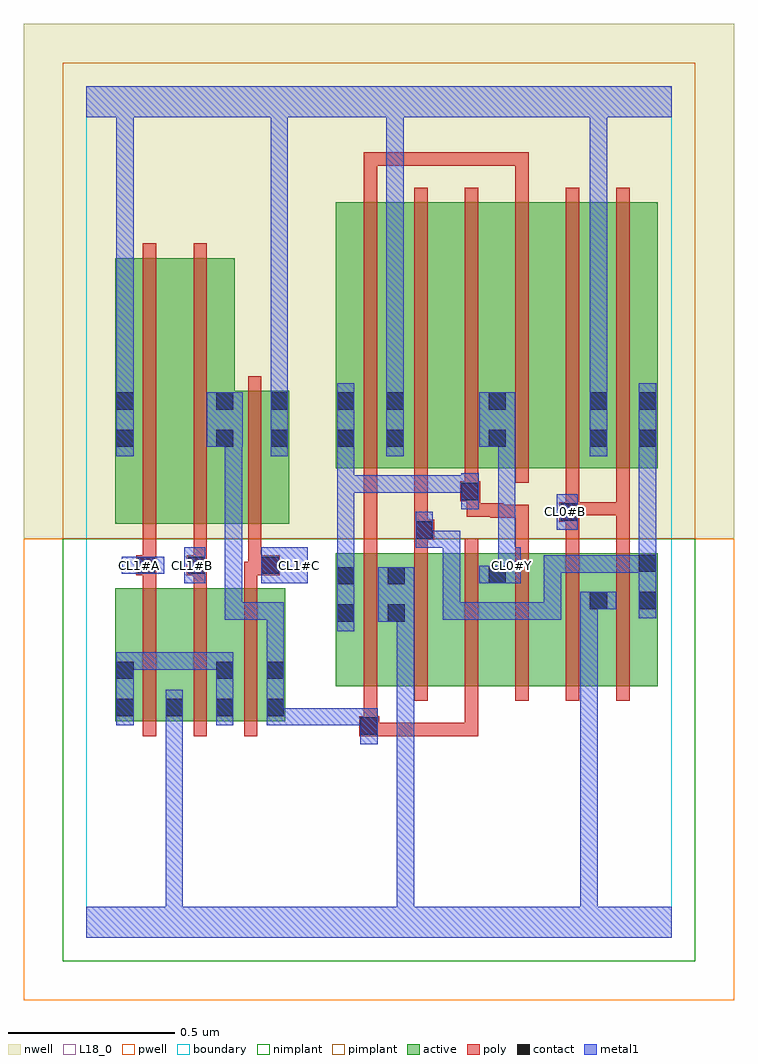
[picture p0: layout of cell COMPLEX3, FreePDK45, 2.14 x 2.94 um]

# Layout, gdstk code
import gdstk
lib = gdstk.Library(unit=1e-6, precision=1e-09)
def R(c, l, rs):  # rectangles x0, y0, x1, y1
    for r in rs: c.add(gdstk.rectangle(r[:2], r[2:], *l))
def A(c, l, x, y, w, h, nx, ny, dx, dy):  # array of equal rectangles
    R(c, l, [(x+i*dx, y+j*dy, x+i*dx+w, y+j*dy+h) for i in range(nx) for j in range(ny)])
active = (1, 0)
pwell = (2, 0)
nwell = (3, 0)
nimplant = (4, 0)
pimplant = (5, 0)
poly = (9, 0)
contact = (10, 0)
metal1 = (11, 0)
L18_0 = (18, 0)
boundary = (235, 0)

complex3 = lib.new_cell('COMPLEX3')
A(complex3, active, 0.234, 0.65, 0.06, 0.4, 3, 1, 0.152, 0)
R(complex3, active, [(0.086,0.65,0.146,1.05), (0.086,0.65,0.294,1.05), (0.234,0.65,0.446,1.05), (0.386,0.65,0.598,1.05), (0.75,0.756,0.81,1.156), (0.75,0.756,0.962,1.156), (0.902,0.756,0.962,1.156), (0.902,0.756,1.082,1.156), (1.082,0.756,1.266,1.156), (1.206,0.756,1.266,1.156), (1.206,0.756,1.386,1.156), (1.386,0.756,1.57,1.156), (1.51,0.756,1.718,1.156), (1.51,0.756,1.57,1.044), (1.658,0.756,1.718,1.156), (0.086,1.244,0.266,2.044), (0.086,1.244,0.146,2.044), (0.266,1.244,0.446,2.044), (0.386,1.244,0.446,1.644), (0.386,1.244,0.61,1.644), (0.55,1.244,0.61,1.644), (0.75,1.412,0.81,2.044), (0.75,1.412,0.958,2.212), (0.898,1.412,0.958,2.044), (0.898,1.412,1.082,2.212), (1.082,1.412,1.266,2.212), (1.206,1.412,1.266,2.044), (1.206,1.412,1.386,2.212), (1.386,1.412,1.57,2.212), (1.51,1.412,1.57,2.044), (1.51,1.412,1.718,2.212), (1.658,1.412,1.718,2.044)])
R(complex3, pwell, [(-0.188,-0.188,1.948,1.2)])
R(complex3, nwell, [(-0.188,1.2,1.948,2.748)])
R(complex3, nimplant, [(-0.072,-0.072,1.832,1.2)])
R(complex3, pimplant, [(-0.072,1.2,1.832,2.632)])
A(complex3, poly, 0.17, 0.606, 0.04, 0.488, 3, 1, 0.152, 0)
A(complex3, poly, 0.834, 0.712, 0.04, 0.488, 6, 1, 0.152, 0)
A(complex3, poly, 0.17, 1.054, 0.04, 0.076, 3, 1, 0.152, 0)
A(complex3, poly, 0.834, 1.368, 0.04, 0.888, 6, 1, 0.152, 0)
R(complex3, poly, [(0.82,0.606,0.88,0.666), (0.84,0.606,0.88,0.646), (0.84,0.606,0.88,0.646), (0.84,0.606,0.986,0.646), (0.946,0.606,0.986,0.646), (0.946,0.606,0.986,0.646), (0.946,0.606,0.986,0.646), (0.946,0.606,1.178,0.646), (1.138,0.606,1.178,0.646), (1.138,0.606,1.178,0.752), (0.834,0.626,0.874,0.752), (0.15,1.09,0.21,1.15), (0.17,1.09,0.21,1.13), (0.17,1.09,0.21,1.13), (0.302,1.09,0.362,1.15), (0.322,1.09,0.362,1.13), (0.322,1.09,0.362,1.13), (0.474,1.09,0.526,1.13), (0.486,1.09,0.526,1.13), (0.486,1.09,0.582,1.15), (0.17,1.11,0.21,1.24), (0.322,1.11,0.362,1.24), (0.486,1.11,0.526,1.24), (0.834,1.16,0.874,1.372), (0.986,1.16,1.026,1.236), (1.29,1.16,1.33,1.302), (1.442,1.16,1.482,1.29), (1.594,1.16,1.634,1.31), (0.986,1.196,1.046,1.256), (0.17,1.2,0.21,2.088), (0.322,1.2,0.362,2.088), (0.486,1.2,0.526,1.688), (0.986,1.216,1.026,1.256), (0.986,1.216,1.026,1.256), (0.986,1.216,1.026,1.408), (1.422,1.25,1.482,1.31), (1.214,1.262,1.33,1.302), (1.214,1.262,1.254,1.306), (1.29,1.262,1.33,1.302), (1.144,1.266,1.184,1.306), (1.144,1.266,1.254,1.306), (1.144,1.266,1.184,1.352), (1.442,1.27,1.482,1.408), (1.442,1.27,1.482,1.31), (1.442,1.27,1.482,1.31), (1.442,1.27,1.482,1.31), (1.442,1.27,1.482,1.31), (1.442,1.27,1.634,1.31), (1.594,1.27,1.634,1.408), (1.594,1.27,1.634,1.31), (1.594,1.27,1.634,1.31), (1.594,1.27,1.634,1.31), (1.124,1.312,1.184,1.372), (0.834,1.332,0.874,1.372), (0.834,1.332,0.874,1.372), (0.834,1.332,0.874,1.372), (0.834,1.332,0.874,1.408), (1.138,1.332,1.178,1.408), (0.834,2.216,0.874,2.362), (1.29,2.216,1.33,2.362), (0.834,2.322,0.874,2.362), (0.834,2.322,0.874,2.362), (0.834,2.322,0.874,2.362), (0.834,2.322,0.986,2.362), (0.946,2.322,0.986,2.362), (0.946,2.322,0.986,2.362), (0.946,2.322,0.986,2.362), (0.946,2.322,1.092,2.362), (1.052,2.322,1.092,2.362), (1.052,2.322,1.33,2.362), (1.29,2.322,1.33,2.362), (1.29,2.322,1.33,2.362), (1.29,2.322,1.33,2.362)])
A(complex3, contact, 0.238, 0.666, 0.052, 0.052, 3, 1, 0.152, 0)
R(complex3, contact, [(0.824,0.61,0.876,0.662), (0.09,0.666,0.142,0.718), (0.09,0.778,0.142,0.83), (0.39,0.778,0.442,0.83), (0.542,0.778,0.594,0.83), (0.754,0.95,0.806,1.002), (0.906,0.95,0.958,1.002), (1.514,0.988,1.566,1.04), (1.662,0.988,1.714,1.04), (0.754,1.062,0.806,1.114), (0.906,1.062,0.958,1.114), (1.21,1.066,1.262,1.118), (0.154,1.094,0.206,1.146), (0.306,1.094,0.358,1.146), (0.526,1.094,0.578,1.146), (1.662,1.1,1.714,1.152), (0.99,1.2,1.042,1.252), (1.426,1.254,1.478,1.306), (1.128,1.316,1.18,1.368), (0.09,1.476,0.142,1.528), (0.39,1.476,0.442,1.528), (0.554,1.476,0.606,1.528), (0.754,1.476,0.806,1.528), (0.902,1.476,0.954,1.528), (1.21,1.476,1.262,1.528), (1.514,1.476,1.566,1.528), (1.662,1.476,1.714,1.528), (0.09,1.588,0.142,1.64), (0.39,1.588,0.442,1.64), (0.554,1.588,0.606,1.64), (0.754,1.588,0.806,1.64), (0.902,1.588,0.954,1.64), (1.21,1.588,1.262,1.64), (1.514,1.588,1.566,1.64), (1.662,1.588,1.714,1.64)])
R(complex3, metal1, [(0,0,1.76,0.092), (0.238,0.04,0.29,0.092), (0.238,0.04,0.29,0.092), (0.238,0.04,0.29,0.092), (0.238,0.04,0.29,0.092), (0.238,0.04,0.29,0.092), (0.238,0.04,0.29,0.092), (0.238,0.04,0.29,0.092), (0.238,0.04,0.29,0.092), (0.238,0.04,0.29,0.092), (0.238,0.04,0.29,0.092), (0.238,0.04,0.29,0.092), (0.238,0.04,0.29,0.092), (0.238,0.04,0.29,0.69), (0.934,0.04,0.986,0.092), (0.934,0.04,0.986,0.092), (0.934,0.04,0.986,0.092), (0.934,0.04,0.986,0.092), (0.934,0.04,0.986,0.092), (0.934,0.04,0.986,0.092), (0.934,0.04,0.986,0.092), (0.934,0.04,0.986,0.092), (0.934,0.04,0.986,0.092), (0.934,0.04,0.986,0.092), (0.934,0.04,0.986,1.002), (1.486,0.04,1.538,0.092), (1.486,0.04,1.538,0.092), (1.486,0.04,1.538,0.092), (1.486,0.04,1.538,0.092), (1.486,0.04,1.538,0.092), (1.486,0.04,1.538,0.092), (1.486,0.04,1.538,0.092), (1.486,0.04,1.538,0.092), (1.486,0.04,1.538,0.092), (1.486,0.04,1.538,0.092), (1.486,0.04,1.538,1.04), (0.824,0.582,0.876,0.69), (0.09,0.638,0.142,0.858), (0.238,0.638,0.29,0.746), (0.39,0.638,0.442,0.858), (0.542,0.638,0.594,0.69), (0.542,0.638,0.594,0.69), (0.542,0.638,0.594,0.69), (0.542,0.638,0.594,0.69), (0.542,0.638,0.594,0.69), (0.542,0.638,0.594,0.69), (0.542,0.638,0.594,0.69), (0.542,0.638,0.594,0.69), (0.542,0.638,0.594,0.69), (0.542,0.638,0.594,0.69), (0.542,0.638,0.594,0.858), (0.542,0.638,0.876,0.69), (0.09,0.806,0.142,0.858), (0.09,0.806,0.142,0.858), (0.09,0.806,0.252,0.858), (0.2,0.806,0.252,0.858), (0.2,0.806,0.252,0.858), (0.2,0.806,0.252,0.858), (0.2,0.806,0.442,0.858), (0.542,0.806,0.594,1.008), (0.754,0.922,0.806,1.142), (0.878,0.95,0.986,1.114), (0.934,0.95,0.986,1.002), (0.934,0.95,0.986,1.002), (0.416,0.956,0.468,1.008), (0.416,0.956,0.468,1.008), (0.416,0.956,0.468,1.008), (0.416,0.956,0.468,1.008), (0.416,0.956,0.468,1.008), (0.416,0.956,0.594,1.008), (0.416,0.956,0.468,1.528), (0.542,0.956,0.594,1.008), (1.072,0.956,1.124,1.008), (1.072,0.956,1.124,1.008), (1.072,0.956,1.124,1.008), (1.072,0.956,1.18,1.008), (1.072,0.956,1.124,1.224), (1.128,0.956,1.18,1.008), (1.128,0.956,1.318,1.008), (1.266,0.956,1.318,1.008), (1.266,0.956,1.318,1.008), (1.266,0.956,1.318,1.008), (1.266,0.956,1.428,1.008), (1.376,0.956,1.428,1.008), (1.376,0.956,1.428,1.15), (1.662,0.96,1.714,1.18), (1.486,0.988,1.538,1.04), (1.486,0.988,1.538,1.04), (1.486,0.988,1.594,1.04), (0.294,1.066,0.358,1.174), (0.526,1.066,0.666,1.174), (1.182,1.066,1.29,1.118), (1.238,1.066,1.29,1.118), (1.238,1.066,1.306,1.174), (0.754,1.09,0.806,1.39), (0.106,1.094,0.234,1.146), (1.376,1.098,1.428,1.15), (1.376,1.098,1.428,1.15), (1.376,1.098,1.428,1.15), (1.376,1.098,1.604,1.15), (1.552,1.098,1.604,1.15), (1.552,1.098,1.714,1.15), (1.662,1.098,1.714,1.15), (1.662,1.098,1.714,1.15), (1.238,1.122,1.29,1.528), (1.662,1.128,1.714,1.5), (0.99,1.172,1.042,1.28), (0.99,1.172,1.124,1.224), (1.072,1.172,1.124,1.224), (1.414,1.226,1.478,1.334), (1.128,1.288,1.18,1.396), (0.754,1.338,0.806,1.39), (0.754,1.338,0.806,1.39), (0.754,1.338,0.806,1.39), (0.754,1.338,0.806,1.39), (0.754,1.338,0.806,1.39), (0.754,1.338,0.916,1.39), (0.754,1.338,0.806,1.5), (0.864,1.338,0.916,1.39), (0.864,1.338,1.07,1.39), (1.018,1.338,1.07,1.39), (1.018,1.338,1.07,1.39), (1.018,1.338,1.07,1.39), (1.018,1.338,1.18,1.39), (0.09,1.448,0.142,1.668), (0.554,1.448,0.606,1.668), (0.754,1.448,0.806,1.668), (0.902,1.448,0.954,1.668), (1.514,1.448,1.566,1.668), (1.662,1.448,1.714,1.5), (1.662,1.448,1.714,1.5), (1.662,1.448,1.714,1.5), (1.662,1.448,1.714,1.5), (1.662,1.448,1.714,1.668), (0.362,1.476,0.47,1.64), (1.182,1.476,1.29,1.64), (1.238,1.476,1.29,1.528), (1.238,1.476,1.29,1.528), (0.09,1.616,0.142,2.52), (0.554,1.616,0.606,1.668), (0.554,1.616,0.606,1.668), (0.554,1.616,0.606,1.668), (0.554,1.616,0.606,1.668), (0.554,1.616,0.606,1.668), (0.554,1.616,0.606,1.668), (0.554,1.616,0.606,1.668), (0.554,1.616,0.606,1.668), (0.554,1.616,0.606,1.668), (0.554,1.616,0.606,1.668), (0.554,1.616,0.606,2.52), (0.902,1.616,0.954,1.668), (0.902,1.616,0.954,1.668), (0.902,1.616,0.954,1.668), (0.902,1.616,0.954,1.668), (0.902,1.616,0.954,2.52), (1.514,1.616,1.566,1.668), (1.514,1.616,1.566,1.668), (1.514,1.616,1.566,1.668), (1.514,1.616,1.566,1.668), (1.514,1.616,1.566,1.668), (1.514,1.616,1.566,1.668), (1.514,1.616,1.566,2.52), (0,2.468,1.76,2.56), (0.09,2.468,0.142,2.52), (0.09,2.468,0.142,2.52), (0.09,2.468,0.142,2.52), (0.09,2.468,0.142,2.52), (0.09,2.468,0.142,2.52), (0.09,2.468,0.142,2.52), (0.09,2.468,0.142,2.52), (0.09,2.468,0.142,2.52), (0.554,2.468,0.606,2.52), (0.554,2.468,0.606,2.52), (0.554,2.468,0.606,2.52), (0.554,2.468,0.606,2.52), (0.554,2.468,0.606,2.52), (0.554,2.468,0.606,2.52), (0.902,2.468,0.954,2.52), (0.902,2.468,0.954,2.52), (0.902,2.468,0.954,2.52), (0.902,2.468,0.954,2.52), (1.514,2.468,1.566,2.52), (1.514,2.468,1.566,2.52)])
R(complex3, L18_0, [(0,0,1.76,0.092), (0.238,0.04,0.29,0.092), (0.238,0.04,0.29,0.092), (0.238,0.04,0.29,0.092), (0.238,0.04,0.29,0.092), (0.238,0.04,0.29,0.092), (0.238,0.04,0.29,0.092), (0.238,0.04,0.29,0.092), (0.238,0.04,0.29,0.092), (0.238,0.04,0.29,0.092), (0.238,0.04,0.29,0.092), (0.238,0.04,0.29,0.092), (0.238,0.04,0.29,0.092), (0.238,0.04,0.29,0.69), (0.934,0.04,0.986,0.092), (0.934,0.04,0.986,0.092), (0.934,0.04,0.986,0.092), (0.934,0.04,0.986,0.092), (0.934,0.04,0.986,0.092), (0.934,0.04,0.986,0.092), (0.934,0.04,0.986,0.092), (0.934,0.04,0.986,0.092), (0.934,0.04,0.986,0.092), (0.934,0.04,0.986,0.092), (0.934,0.04,0.986,1.002), (1.486,0.04,1.538,0.092), (1.486,0.04,1.538,0.092), (1.486,0.04,1.538,0.092), (1.486,0.04,1.538,0.092), (1.486,0.04,1.538,0.092), (1.486,0.04,1.538,0.092), (1.486,0.04,1.538,0.092), (1.486,0.04,1.538,0.092), (1.486,0.04,1.538,0.092), (1.486,0.04,1.538,0.092), (1.486,0.04,1.538,1.04), (0.238,0.638,0.29,0.746), (0.878,0.95,0.986,1.114), (0.934,0.95,0.986,1.002), (0.934,0.95,0.986,1.002), (1.486,0.988,1.538,1.04), (1.486,0.988,1.538,1.04), (1.486,0.988,1.594,1.04), (0.294,1.066,0.358,1.174), (0.526,1.066,0.666,1.174), (1.182,1.066,1.29,1.118), (1.238,1.066,1.29,1.118), (1.238,1.066,1.306,1.174), (0.106,1.094,0.234,1.146), (0.134,1.094,0.186,1.146), (0.294,1.094,0.346,1.146), (0.614,1.094,0.666,1.146), (1.254,1.094,1.306,1.146), (1.238,1.122,1.29,1.528), (1.414,1.226,1.478,1.334), (1.414,1.254,1.466,1.306), (0.09,1.448,0.142,1.668), (0.554,1.448,0.606,1.668), (0.902,1.448,0.954,1.668), (1.514,1.448,1.566,1.668), (1.182,1.476,1.29,1.64), (1.238,1.476,1.29,1.528), (1.238,1.476,1.29,1.528), (0.09,1.616,0.142,2.52), (0.554,1.616,0.606,1.668), (0.554,1.616,0.606,1.668), (0.554,1.616,0.606,1.668), (0.554,1.616,0.606,1.668), (0.554,1.616,0.606,1.668), (0.554,1.616,0.606,1.668), (0.554,1.616,0.606,1.668), (0.554,1.616,0.606,1.668), (0.554,1.616,0.606,1.668), (0.554,1.616,0.606,1.668), (0.554,1.616,0.606,2.52), (0.902,1.616,0.954,1.668), (0.902,1.616,0.954,1.668), (0.902,1.616,0.954,1.668), (0.902,1.616,0.954,1.668), (0.902,1.616,0.954,2.52), (1.514,1.616,1.566,1.668), (1.514,1.616,1.566,1.668), (1.514,1.616,1.566,1.668), (1.514,1.616,1.566,1.668), (1.514,1.616,1.566,1.668), (1.514,1.616,1.566,1.668), (1.514,1.616,1.566,2.52), (0,2.468,1.76,2.56), (0.09,2.468,0.142,2.52), (0.09,2.468,0.142,2.52), (0.09,2.468,0.142,2.52), (0.09,2.468,0.142,2.52), (0.09,2.468,0.142,2.52), (0.09,2.468,0.142,2.52), (0.09,2.468,0.142,2.52), (0.09,2.468,0.142,2.52), (0.554,2.468,0.606,2.52), (0.554,2.468,0.606,2.52), (0.554,2.468,0.606,2.52), (0.554,2.468,0.606,2.52), (0.554,2.468,0.606,2.52), (0.554,2.468,0.606,2.52), (0.902,2.468,0.954,2.52), (0.902,2.468,0.954,2.52), (0.902,2.468,0.954,2.52), (0.902,2.468,0.954,2.52), (1.514,2.468,1.566,2.52), (1.514,2.468,1.566,2.52)])
R(complex3, boundary, [(0,0,1.76,2.56)])
complex3.add(gdstk.Label('CL0#B', (1.44,1.28), layer=11, texttype=0))
complex3.add(gdstk.Label('CL0#Y', (1.28,1.12), layer=11, texttype=0))
complex3.add(gdstk.Label('CL1#A', (0.16,1.12), layer=11, texttype=0))
complex3.add(gdstk.Label('CL1#B', (0.32,1.12), layer=11, texttype=0))
complex3.add(gdstk.Label('CL1#C', (0.64,1.12), layer=11, texttype=0))

lib.write_gds('COMPLEX3.gds')
